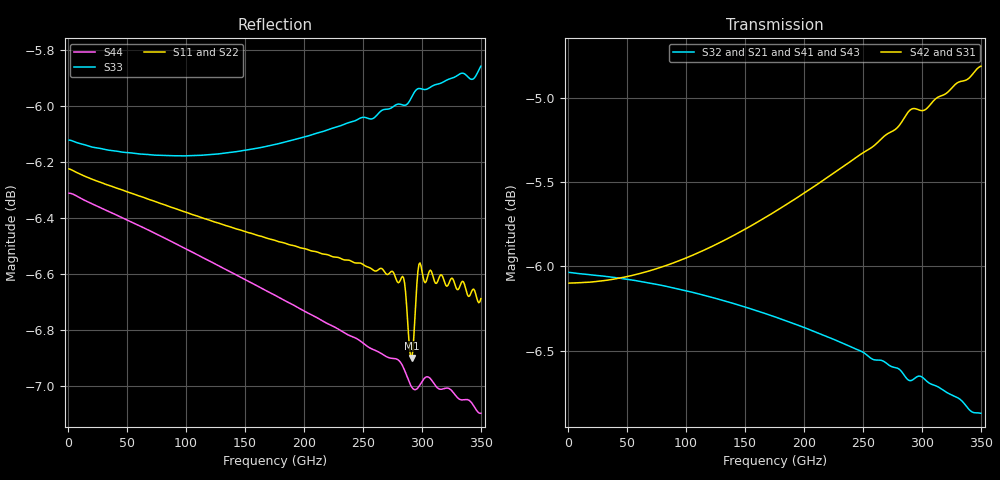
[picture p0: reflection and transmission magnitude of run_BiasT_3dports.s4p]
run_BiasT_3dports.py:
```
########################################################################
#
# Copyright 2025 Volker Muehlhaus and IHP PDK Authors
#
# Licensed under the GNU General Public License, Version 3.0 (the "License");
# you may not use this file except in compliance with the License.
# You may obtain a copy of the License at
#
#    https://www.gnu.org/licenses/gpl-3.0
#
# Unless required by applicable law or agreed to in writing, software
# distributed under the License is distributed on an "AS IS" BASIS,
# WITHOUT WARRANTIES OR CONDITIONS OF ANY KIND, either express or implied.
# See the License for the specific language governing permissions and
# limitations under the License.
#
########################################################################

import os

from gds2openEMS import *

from openEMS import openEMS
import numpy as np


# Model comments
#
# This is a generic model running port excitation for all ports defined below,
# to get full [S] matrix data.
# Output is stored to Touchstone S-parameter file.
# No data plots are created by this script.
#
# This model uses the settings{} dictionary syntax and the gds2openEMS PyPI package
# (pip install gds2openEMS) instead of a local copy of the modules folder - see the
# README for the loose-variable / local-modules-copy alternative, still fully supported.


# ======================== workflow settings ================================

settings = {}

settings['preview_only'] = True  # preview model/mesh only?
settings['no_gui'] = False # if set to True, there is no mesh/model preview in AppCSXCAD, and simulation starts immediately.

# ===================== input files and path settings =======================

gds_filename = "../klayout/BiasT_3dports.gds"   # geometries
XML_filename = "SG13G2.xml"          # stackup

# preprocess GDSII for safe handling of cutouts/holes?
settings['preprocess_gds'] = False

# merge via polygons with distance less than .. microns, set to 0 to disable via merging.
settings['merge_polygon_size'] = 1


# get path for this simulation file
script_path = utilities.get_script_path(__file__)
# use script filename as model basename
model_basename = utilities.get_basename(__file__)
# set and create directory for simulation output
sim_path = utilities.create_sim_path (script_path,model_basename)
print('Simulation data directory: ', sim_path)
# change current path to model script path
os.chdir(os.path.dirname(os.path.abspath(__file__)))

# ======================== simulation settings ================================

settings['unit']   = 1e-6  # geometry is in microns
settings['margin'] = 70    # distance in microns from GDSII geometry boundary to simulation boundary

settings['fstart']  = 0e9
settings['fstop']   = 350e9
settings['numfreq'] = 401

settings['refined_cellsize'] = 0.3  # mesh cell size in conductor region

# choices for boundary:
# 'PEC' : perfect electric conductor (default)
# 'PMC' : perfect magnetic conductor, useful for symmetries
# 'MUR' : simple MUR absorbing boundary conditions
# 'PML_8' : PML absorbing boundary conditions
settings['Boundaries'] = ['PEC', 'PEC', 'PEC', 'PEC', 'PEC', 'PEC']

settings['cells_per_wavelength'] = 20   # how many mesh cells per wavelength, must be 10 or more
settings['energy_limit'] = -50          # end criteria for residual energy (dB)

# port configuration, port geometry is read from GDSII file on the specified layer
simulation_ports = simulation_setup.all_simulation_ports()

# in-plane port is specified with target_layername= and direction x or y
# via port is specified with from_layername= and to_layername= and direction z
simulation_ports.add_port(simulation_setup.simulation_port(portnumber=1, 
                                                           voltage=1, 
                                                           port_Z0=50, 
                                                           source_layernum=201, 
                                                           from_layername='Metal2', 
                                                           to_layername='Metal5', 
                                                           direction='z'))

simulation_ports.add_port(simulation_setup.simulation_port(portnumber=2, 
                                                           voltage=1, 
                                                           port_Z0=50, 
                                                           source_layernum=202, 
                                                           from_layername='Metal2', 
                                                           to_layername='TopMetal1', 
                                                           direction='z'))

simulation_ports.add_port(simulation_setup.simulation_port(portnumber=3, 
                                                           voltage=1, 
                                                           port_Z0=50, 
                                                           source_layernum=203, 
                                                           from_layername='Metal2', 
                                                           to_layername='TopMetal2', 
                                                           direction='z'))

simulation_ports.add_port(simulation_setup.simulation_port(portnumber=4, 
                                                           voltage=1, 
                                                           port_Z0=50, 
                                                           source_layernum=204, 
                                                           target_layername='Metal2',
                                                           direction='x'))

# optional field dump based on bounding box of GDSII layer data on special layers
# supported dump_type = 'E','H','J','rotH'
# supported file_type = 'vtk', 'hdf5'
# z-position is zmax of from_layername, zmin of to_layername
# if field_dumps == True:
#     field_dumps = simulation_setup.all_field_dumps()
#     field_dumps.add_frequency_dump(name='Jf', file_type='vtk', dump_type='J', frequency=60e9, source_layernum=301, from_layername='TopMetal2', to_layername='TopMetal2', offset_top=0, offset_bottom=0)
#     field_dumps.add_time_dump(name='Et', file_type='vtk', dump_type='E', source_layernum=302, from_layername='Metal2', to_layername='TopMetal2', offset_top=10, offset_bottom=0)
# settings['field_dumps'] = field_dumps

# ======================== simulation ================================

# get technology stackup data
materials_list, dielectrics_list, metals_list = stackup_reader.read_substrate (XML_filename)
# get list of layers from technology
layernumbers = metals_list.getlayernumbers()
# we must also read the layers where we added ports, these are not included in technology layers
layernumbers.extend(simulation_ports.portlayers)

# read geometries from GDSII, only purpose 0
allpolygons = gds_reader.read_gds(gds_filename,
                                  layernumbers,
                                  purposelist=[0],
                                  metals_list=metals_list,
                                  preprocess=settings['preprocess_gds'],
                                  merge_polygon_size=settings['merge_polygon_size'])

# maximum cellsize is calculated inside setupSimulation when using settings dictionary

# define excitation and stop criteria and boundaries
FDTD = openEMS(EndCriteria=np.exp(settings['energy_limit']/10 * np.log(10)))
FDTD.SetGaussExcite( (settings['fstart']+settings['fstop'])/2, (settings['fstop']-settings['fstart'])/2 )
FDTD.SetBoundaryCond( settings['Boundaries'] )

settings['simulation_ports'] = simulation_ports
settings['materials_list'] = materials_list
settings['dielectrics_list'] = dielectrics_list
settings['metals_list'] = metals_list
settings['layernumbers'] = layernumbers
settings['allpolygons'] = allpolygons
settings['sim_path'] = sim_path
settings['model_basename'] = model_basename


########### create model, run and post-process ###########

# run all active port excitations, one after another. Ports with voltage=0 are skipped here -
# their S-parameters are left out of the result, see the FAQ in the user's guide.

for excite_portnumbers in simulation_ports.all_active_excitations():
    settings['excite_portnumbers'] = excite_portnumbers

    simulation_setup.setupSimulation (FDTD=FDTD, settings=settings)  # must use named parameters when using settings dict!
    simulation_setup.runSimulation   (FDTD=FDTD, settings=settings)  # must use named parameters when using settings dict!


# Initialize an empty matrix for S-parameters
num_ports = simulation_ports.portcount
s_params = np.empty((num_ports, num_ports, settings['numfreq']), dtype=object)

# Define frequency resolution. Due to FFT from Empire time domain results,
# this is postprocessing and we can change it again at any time.
f = np.linspace(settings['fstart'],settings['fstop'],settings['numfreq'])

# Populate the S-parameter matrix with simulation results
for i in range(1, num_ports + 1):
    for j in range(1, num_ports + 1):
        s_params[i-1, j-1] = utilities.calculate_Sij(i, j, f, sim_path, simulation_ports)

# Write to Touchstone *.snp file
snp_name = os.path.join(sim_path, model_basename + '.s' + str(num_ports) + 'p')
utilities.write_snp(s_params, f, snp_name, z0=simulation_ports.get_reference_impedance())

print('Created S-parameter output file at ', snp_name)
```
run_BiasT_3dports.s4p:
#  Hz  S  RI  R  50
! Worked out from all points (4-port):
!   400 points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, 875 MHz to 350 GHz, reference 50 ohm
!   strongest paths, dB at 875 MHz, 88.38 GHz, 175.9 GHz, 263.4 GHz, 350 GHz:
!     S42: -6.1, -6.0, -5.7, -5.3, -4.8
!     S31: -6.0, -6.0, -5.8, -5.5, -5.2
!     S32: -6.0, -6.1, -6.3, -6.6, -6.9
!     S21: -6.1, -6.2, -6.3, -6.5, -6.6
!     S41: -6.2, -6.3, -6.4, -6.6, -6.8
!     S43: -6.1, -6.2, -6.4, -6.7, -7.1
!   lowest |S11| = -6.9 dB at 291.4 GHz (marker M1), VSWR 2.65, Z = 24.4 + j24.5 ohm
!   |S11| at or under -10 dB: nowhere
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8.75e8  -0.4883 0.00188  0.4962 -0.00126  0.4995 -0.000504  0.4925 -0.00154
        0.4962 -0.00121  -0.4909 0.00109  0.4991 -0.00106  0.4955 -0.000147
        0.4995 -0.00046  0.4991 -0.00108  -0.4942 0.00148  0.4955 -0.00128
        0.4924 -0.00149  0.4955 -0.000151  0.4954 -0.00126  -0.4835 0.0016
2.91375e11  -0.2126 0.3987  0.3457 -0.3081  0.501 -0.1918  0.2877 -0.3571
            0.3462 -0.3084  -0.3719 0.2543  0.3745 -0.2742  0.5537 -0.0954
            0.5002 -0.1913  0.3736 -0.2746  -0.3458 0.3653  0.3333 -0.3095
            0.2872 -0.3593  0.5498 -0.0956  0.332 -0.3096  -0.2726 0.3536
3.5e11  -0.1229 0.4464  0.2991 -0.3551  0.4956 -0.2348  0.2223 -0.4042
        0.299 -0.3566  -0.3394 0.289  0.3311 -0.312  0.5628 -0.1293
        0.4945 -0.2357  0.33 -0.3108  -0.2956 0.4149  0.2772 -0.3466
        0.2199 -0.4018  0.5597 -0.13  0.2764 -0.3461  -0.2077 0.3898
